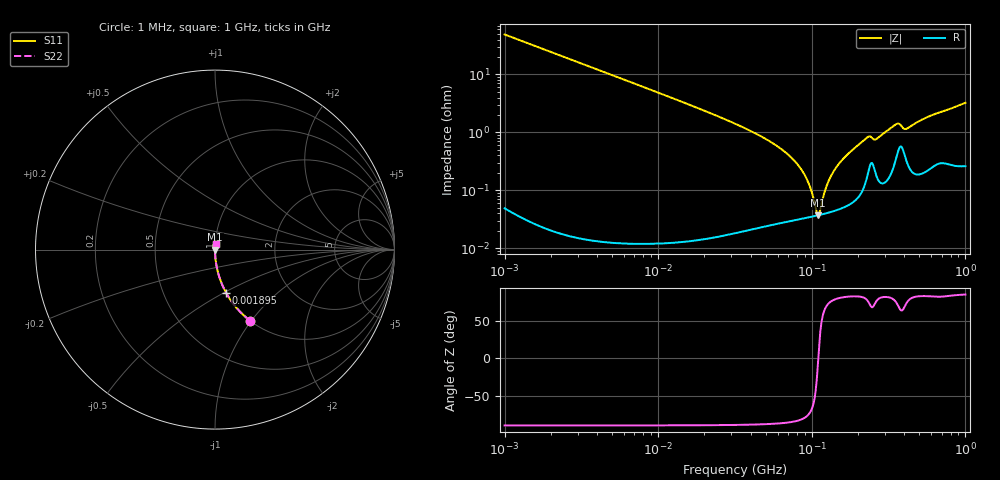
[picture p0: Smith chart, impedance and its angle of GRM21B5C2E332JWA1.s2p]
!Murata Part Number: GRM21B5C2E332JWA1
!These Parameters are Measured in Series Mode Connection
!Data Generated on Mar 30, 2021
!  o--ll--o
!Port1  Port2
!  o------o
!Operation Temp=25[degC], DC Bias Voltage=0[V]
!Freq. Start=1000[kHz] Stop=1000[MHz] 401[Steps]
# Hz S RI R 50
!Freq.(Hz) S11(Real) S11(Imag) S21(Real) S21(Imag) S12(Real) S12(Imag) S22(Real) S22(Imag)
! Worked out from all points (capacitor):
!   401 points, 1 MHz to 1 GHz, reference 50 ohm
!   read as one part in series: C = 3.24 nF near 1.035 MHz
!   lowest |Z| = 37.3 mohm at 109.6 MHz (marker M1)
!   series resonance near 110.2 MHz, so ESL is about 640 pH
!   S11 on the Smith chart (normalised r, x): 1 MHz: 1.00, -0.98; 1.895 MHz: 1.00, -0.52; 1 GHz: 1.01, +0.06
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1000000  0.1942 -0.3951  0.8058 0.3951  0.8058 0.3951  0.1942 -0.3951
1894524  0.063 -0.2425  0.937 0.2425  0.937 0.2425  0.063 -0.2425
3180534  0.0233 -0.1505  0.9767 0.1505  0.9767 0.1505  0.0233 -0.1505
1.01158e7  0.00242 -0.0479  0.9976 0.0479  0.9976 0.0479  0.00242 -0.0479
3.162278e7  0.000382 -0.0142  0.9996 0.0142  0.9996 0.0142  0.000382 -0.0142
5.128614e7  0.000298 -0.00743  0.9997 0.00743  0.9997 0.00743  0.000298 -0.00743
7.120328e7  0.000307 -0.00398  0.9997 0.00398  0.9997 0.00398  0.000307 -0.00398
8.759917e7  0.00033 -0.00205  0.9997 0.00205  0.9997 0.00205  0.00033 -0.00205
1.005773e8  0.000353 -0.000808  0.9996 0.000808  0.9996 0.000808  0.000353 -0.000808
1.059254e8  0.000363 -0.000349  0.9996 0.000349  0.9996 0.000349  0.000363 -0.000349
1.096478e8  0.000371 -4.25e-05  0.9996 4.25e-05  0.9996 4.25e-05  0.000371 -4.25e-05
1.135011e8  0.000379 0.000264  0.9996 -0.000264  0.9996 -0.000264  0.000379 0.000264
1.216186e8  0.000397 0.000881  0.9996 -0.000881  0.9996 -0.000881  0.000397 0.000881
1.303167e8  0.000418 0.00151  0.9996 -0.00151  0.9996 -0.00151  0.000418 0.00151
1.548817e8  0.000494 0.00313  0.9995 -0.00313  0.9995 -0.00313  0.000494 0.00313
2.264644e8  0.00157 0.00779  0.9984 -0.00779  0.9984 -0.00779  0.00157 0.00779
2.645453e8  0.00177 0.00753  0.9982 -0.00753  0.9982 -0.00753  0.00177 0.00753
3.198895e8  0.00181 0.0113  0.9982 -0.0113  0.9982 -0.0113  0.00181 0.0113
3.60994e8  0.00448 0.0133  0.9955 -0.0133  0.9955 -0.0133  0.00448 0.0133
4.144766e8  0.00326 0.0111  0.9967 -0.0111  0.9967 -0.0111  0.00326 0.0111
5.754399e8  0.00259 0.0186  0.9974 -0.0186  0.9974 -0.0186  0.00259 0.0186
1e9  0.00365 0.0322  0.9964 -0.0322  0.9964 -0.0322  0.00365 0.0322
